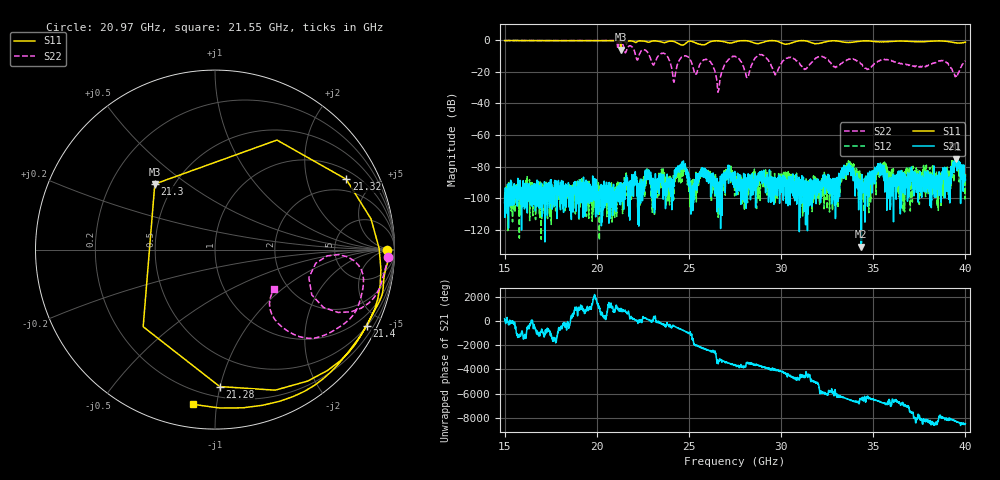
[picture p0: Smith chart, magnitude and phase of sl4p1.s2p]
#  HZ  S  RI  R  50.00
! Rohde & Schwarz Vector Network Analyzer
! Rohde-Schwarz,ZNA43-4Port,1332450044101932,2.92
! Created: UTC 4/16/2025, 7:42:18 AM
! freq[Hz]  re:S11  im:S11  re:S21  im:S21  re:S12  im:S12  re:S22  im:S22
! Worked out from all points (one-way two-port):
!   2501 points, 15 GHz to 40 GHz, reference 50 ohm
!   highest |S21| = -75.02 dB at 39.5 GHz (marker M1); lowest = -130.5 dB at 34.34 GHz (marker M2)
!   lowest |S11| = -6.1 dB at 21.3 GHz (marker M3), VSWR 2.97, Z = 19.7 + j19.1 ohm
!   |S11| at or under -10 dB: nowhere
!   |S22| runs from -32.9 to -0.2 dB; largest |S21 - S12| = 0.00015
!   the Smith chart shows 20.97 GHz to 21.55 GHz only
!   S11 on the Smith chart (normalised r, x): 20.97 GHz: 49, +0; 21.28 GHz: 0.27, -1.00; 21.3 GHz: 0.39, +0.38; 21.32 GHz: 1.38, +3.47; 21.4 GHz: 0.52, -4.15; 21.55 GHz: 0.12, -0.86
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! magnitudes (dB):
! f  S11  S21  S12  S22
! 15 GHz  -0.2  -102.8  -99.8  -0.3
! 19.17 GHz  -0.3  -97.7  -90.4  -0.2
! 20.97 GHz  -0.4  -104.0  -112.0  -0.3
! 21.28 GHz  -2.3  -95.8  -96.7  -1.3
! 21.3 GHz  -6.1  -96.2  -93.2  -1.3
! 21.32 GHz  -1.6  -95.7  -99.9  -1.4
! 21.4 GHz  -0.5  -99.3  -109.6  -2.4
! 21.55 GHz  -1.2  -88.8  -99.0  -8.0
! 23.34 GHz  -0.7  -87.2  -89.7  -9.9
! 24.19 GHz  -0.9  -92.4  -92.1  -26.5
! 24.69 GHz  -3.0  -79.8  -80.9  -10.0
! 26.04 GHz  -1.6  -84.1  -82.2  -12.4
! 26.59 GHz  -0.4  -99.6  -99.8  -32.1
! 27.5 GHz  -1.1  -86.6  -87.5  -10.1
! 28.16 GHz  -0.4  -87.0  -90.2  -23.3
! 28.84 GHz  -1.9  -85.7  -91.7  -9.0
! 29.69 GHz  -0.5  -93.0  -91.3  -21.9
! 31.67 GHz  -1.6  -105.1  -96.3  -13.9
! 34.34 GHz  -0.6  -130.5  -93.1  -15.0
! 35.84 GHz  -0.9  -97.6  -89.4  -12.3
! 39.5 GHz  -1.6  -75.0  -77.6  -22.6
! 40 GHz  -1.3  -88.4  -84.5  -13.0
